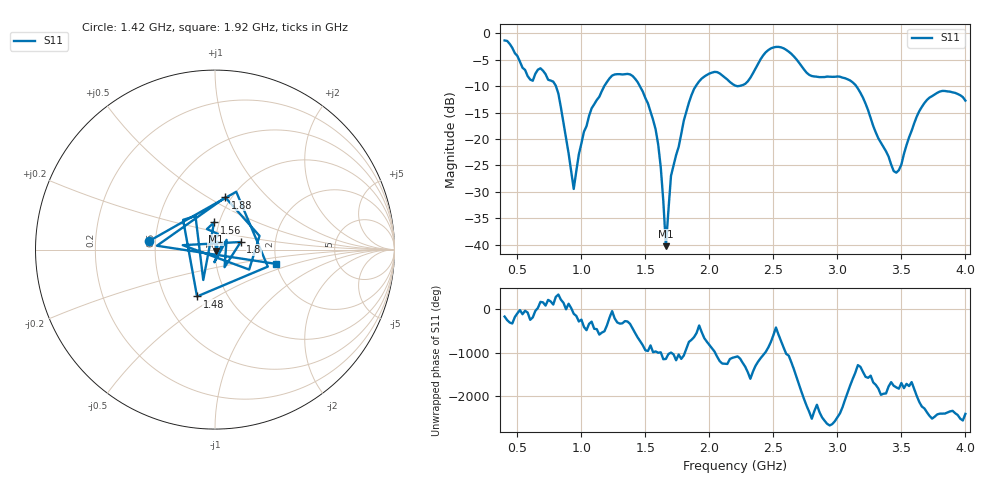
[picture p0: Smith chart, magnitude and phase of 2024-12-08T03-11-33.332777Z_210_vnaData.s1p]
!Created with skrf (http://scikit-rf.org).
# Hz S RI R 50.0
!freq ReS11 ImS11
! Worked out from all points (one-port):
!   181 points, 400 MHz to 4 GHz, reference 50 ohm
!   lowest |S11| = -40.2 dB at 1.66 GHz (marker M1), VSWR 1.02, Z = 50.4 - j0.873 ohm
!   |S11| at or under -10 dB: 800.7 MHz to 1.179 GHz (378.5 MHz wide, 38.2 % of centre); 1.456 GHz to 1.894 GHz (438.7 MHz wide, 26.2 % of centre); 3.146 GHz to end of sweep (the widest 3 of 4)
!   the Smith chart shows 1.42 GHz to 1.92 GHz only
!   S11 on the Smith chart (normalised r, x): 1.42 GHz: 0.46, +0.05; 1.48 GHz: 0.72, -0.41; 1.56 GHz: 0.95, +0.29; 1.8 GHz: 1.33, +0.11; 1.88 GHz: 0.94, +0.60; 1.92 GHz: 1.99, -0.36
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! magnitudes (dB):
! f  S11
! 400 MHz  -1.4
! 600 MHz  -8.8
! 680 MHz  -6.7
! 780 MHz  -9.2
! 860 MHz  -17.0
! 940 MHz  -29.4
! 980 MHz  -22.9
! 1.08 GHz  -14.2
! 1.3 GHz  -7.8
! 1.42 GHz  -8.6
! 1.48 GHz  -11.1
! 1.56 GHz  -16.4
! 1.62 GHz  -25.3
! 1.66 GHz  -40.2
! 1.7 GHz  -26.9
! 1.76 GHz  -21.5
! 1.8 GHz  -16.5
! 1.88 GHz  -10.6
! 1.92 GHz  -9.1
! 2.2 GHz  -9.9
! 2.48 GHz  -2.9
! 2.66 GHz  -4.4
! 2.8 GHz  -8.1
! 3.1 GHz  -9.0
! 3.44 GHz  -26.1
! 3.56 GHz  -19.7
! 3.72 GHz  -12.2
! 4 GHz  -12.7
